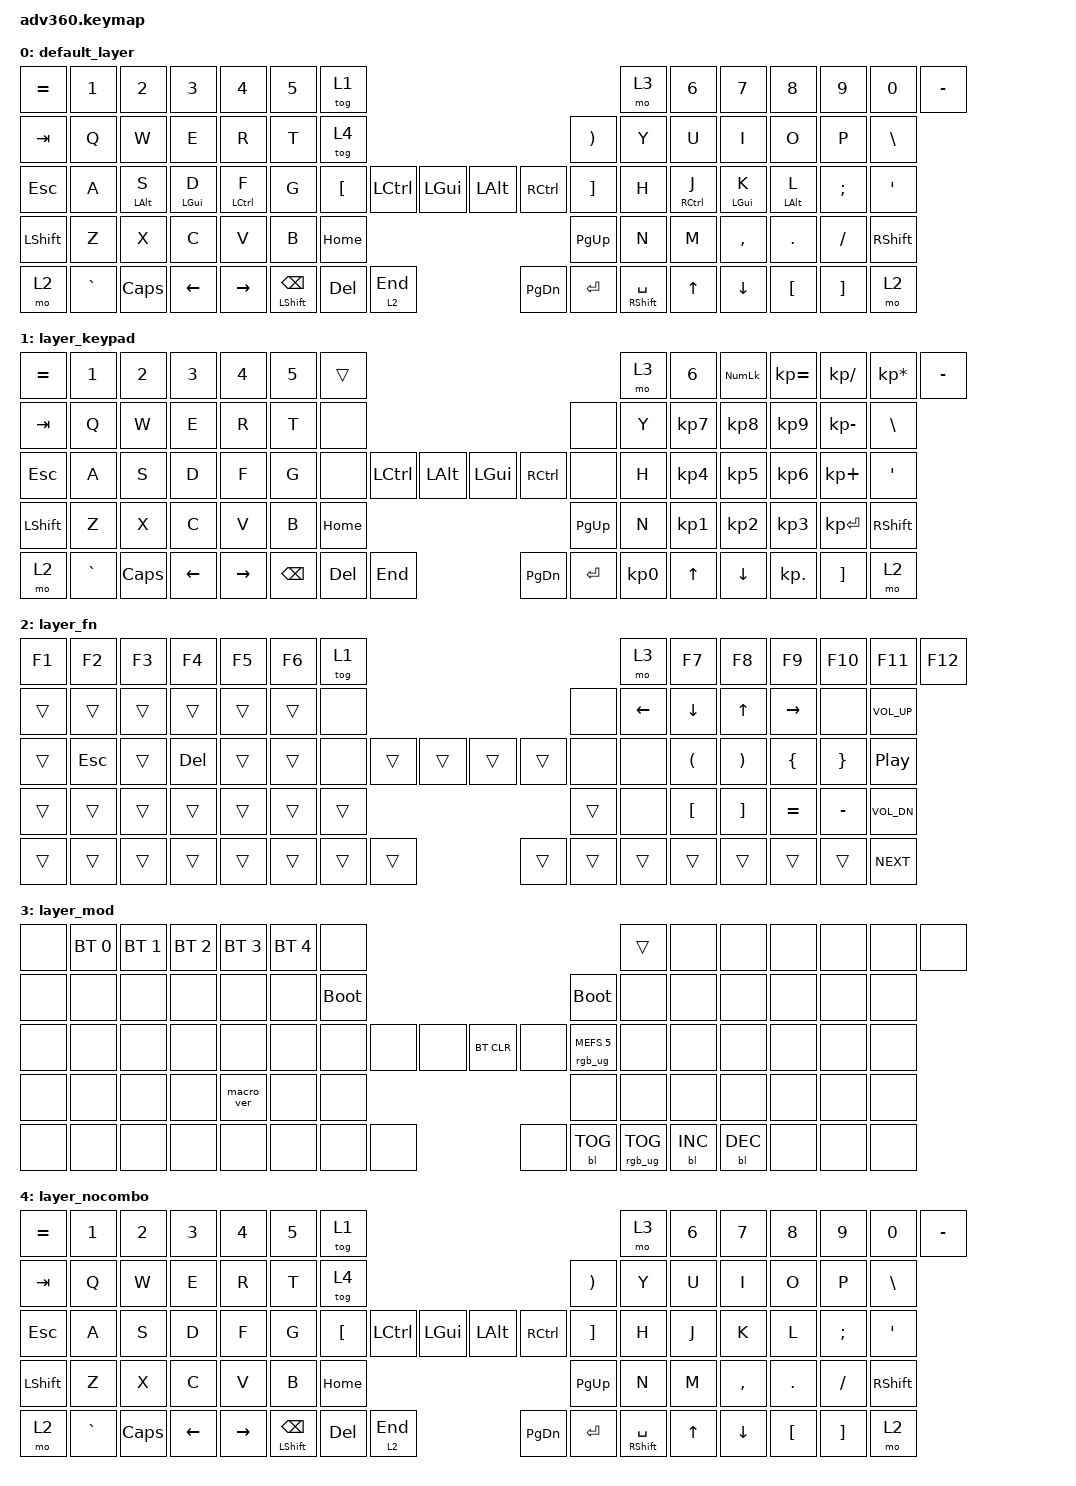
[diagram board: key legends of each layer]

/*
 * Copyright (c) 2020 The ZMK Contributors
 *
 * SPDX-License-Identifier: MIT
 */


/* THIS FILE WAS GENERATED!
 *
 * This file was generated automatically. You may or may not want to
 * edit it directly.
 */

#include <behaviors.dtsi>
#include <dt-bindings/zmk/keys.h>
#include <dt-bindings/zmk/bt.h>
#include <dt-bindings/zmk/rgb.h>
#include <dt-bindings/zmk/backlight.h>

#define COMBO(NAME, BINDINGS, KEYPOS) \
  combo_##NAME { \
    timeout-ms = <50>; \
    bindings = <BINDINGS>; \
    key-positions = <KEYPOS>; \
    layers = <0>; \
  };

/ {
  behaviors {
    #include "macros.dtsi"
    #include "version.dtsi"

    hm: homerow_mods {
        compatible = "zmk,behavior-hold-tap";
        label = "HOMEROW_MODS";
        #binding-cells = <2>;
        tapping-term-ms = <170>;
        quick_tap_ms = <300>;
        flavor = "tap-preferred";
        bindings = <&kp>, <&kp>;
        require-prior-idle-ms = <100>;
        hold-trigger-on-release;
    };
  };

combos {
compatible = "zmk,combos";


/* Horizontal combos - left hand */
COMBO(esc,   &kp ESC,       16 17)
COMBO(ret,   &kp RETURN,    17 18)
/*COMBO(mouse, &smart_mouse,  LT3 LT1)*/

COMBO(tab,   &kp TAB,       30 31)
// COMBO(repeat, &kp C_AC_REDO,    31 32)
COMBO(colin, &kp COLON,    31 32)

/*COMBO(cut,   &kp LC(X),     LB3 LB1)*/
COMBO(copy,  &kp LC(INS),   48 49)
COMBO(paste, &kp LS(INS),   49 50)

/* Horizontal combos - right hand */
COMBO(lbrc,  &kp LBRC,      23 24)
COMBO(rbrc,  &kp RBRC,      24 25)

COMBO(lpar,  &kp LPAR,      41 42)
COMBO(rpar,  &kp RPAR,      42 43)
// COMBO(lt,    &kp LT,        41 42)
// COMBO(gt,    &kp GT,        42 43)

COMBO(lbkt,  &kp LBKT,      55 56)
COMBO(rbkt,  &kp RBKT,      56 57)
// COMBO(lbrc,  &kp LBRC,      55 56)
// COMBO(rbrc,  &kp RBRC,      56 57)

// COMBO(grk,   &sl UC,        RT1 RT3)
// COMBO(cpgrk, &sls 0,        RT1 RT2 RT3)

/* Vertical combos - left hand */
COMBO(at,    &kp AT,        16 30)
COMBO(hash,  &kp HASH,      17 31)
COMBO(dllr,  &kp DLLR,      18 32)
COMBO(prcnt, &kp PRCNT,     19 33)

COMBO(grave, &kp GRAVE,     30 48)
COMBO(bslh,  &kp BSLH,      31 49)
COMBO(equal, &kp EQUAL,     32 50)
COMBO(tilde, &kp TILDE,     33 51)

/* Vertical combos - right hand */
COMBO(caret, &kp CARET,     22 40)
COMBO(plus,  &kp PLUS,      23 41)
COMBO(star,  &kp STAR,      24 42)
COMBO(amps,  &kp AMPS,      25 43)

COMBO(under, &kp UNDER,     40 54)
COMBO(minus, &kp MINUS,     41 55)
COMBO(fslh,  &kp FSLH,      42 56)
COMBO(pipe,  &kp PIPE,      43 57)



// COMBO(esc,   &kp ESC,       16 17)
// COMBO(ret,   &kp RETURN,    17 18)
// COMBO(lbkt,  &kp LBKT,      55 56)
// COMBO(rbkt,  &kp RBKT,      56 57)
//COMBO(lbrc,  &kp LBRC,      55 56)
//COMBO(rbrc,  &kp RBRC,      56 57)
/*
*COMBO(LEFT_SHIFT, &kp LEFT_SHIFT, 31 32)
*COMBO(RIGHT_SHIFT, &kp RIGHT_SHIFT, 41 42)
*/
};

    keymap {
        compatible = "zmk,keymap";


        default_layer {
            bindings = <
      &kp EQUAL     &kp N1    &kp N2    &kp N3     &kp N4  &kp N5                    &tog 1                                                                                      &mo 3  &kp N6  &kp N7     &kp N8    &kp N9    &kp N0  &kp MINUS
        &kp TAB      &kp Q     &kp W     &kp E      &kp R   &kp T                     &tog 4                                                                                      &kp RIGHT_PARENTHESIS   &kp Y   &kp U      &kp I     &kp O     &kp P   &kp BSLH
        &kp ESC      &kp A     &hm LEFT_ALT S     &hm LGUI D      &hm LCTRL F   &kp G            &kp LBKT  &kp LCTRL  &kp LGUI                  &kp LEFT_ALT             &kp RCTRL  &kp RBKT   &kp H   &hm RCTRL J      &hm LGUI K     &hm LEFT_ALT L  &kp SEMI    &kp SQT
 &kp LEFT_SHIFT      &kp Z     &kp X     &kp C      &kp V   &kp B                                       &kp HOME                     &kp PG_UP                                           &kp N   &kp M  &kp COMMA   &kp DOT  &kp FSLH  &kp RSHFT
          &mo 2  &kp GRAVE  &kp CAPS  &kp LEFT  &kp RIGHT                        &hm LEFT_SHIFT BSPC      &kp DEL   &lt 2 END                     &kp PG_DN  &kp ENTER        &hm RIGHT_SHIFT SPACE          &kp UP   &kp DOWN  &kp LBKT  &kp RBKT      &mo 2
            >;
        };

        layer_keypad {
            bindings = <
 &kp EQUAL     &kp N1    &kp N2    &kp N3     &kp N4  &kp N5              &trans                                                                 &mo 3  &kp N6  &kp KP_NUM  &kp KP_EQUAL  &kp KP_DIVIDE  &kp KP_MULTIPLY  &kp MINUS
   &kp TAB      &kp Q     &kp W     &kp E      &kp R   &kp T               &none                                                                 &none   &kp Y   &kp KP_N7     &kp KP_N8      &kp KP_N9     &kp KP_MINUS   &kp BSLH
   &kp ESC      &kp A     &kp S     &kp D      &kp F   &kp G               &none  &kp LCTRL  &kp LALT                   &kp LGUI  &kp RCTRL      &none   &kp H   &kp KP_N4     &kp KP_N5      &kp KP_N6      &kp KP_PLUS    &kp SQT
 &kp LSHFT      &kp Z     &kp X     &kp C      &kp V   &kp B                                 &kp HOME                  &kp PG_UP                         &kp N   &kp KP_N1     &kp KP_N2      &kp KP_N3     &kp KP_ENTER  &kp RSHFT
     &mo 2  &kp GRAVE  &kp CAPS  &kp LEFT  &kp RIGHT                    &kp BSPC    &kp DEL   &kp END                  &kp PG_DN  &kp ENTER  &kp KP_N0              &kp UP      &kp DOWN     &kp KP_DOT         &kp RBKT      &mo 2
            >;
        };

        layer_fn {
            bindings = <
 &kp F1   &kp F2  &kp F3   &kp F4  &kp F5  &kp F6            &tog 1                                                   &mo 3          &kp F7                &kp F8                 &kp F9          &kp F10          &kp F11           &kp F12
 &trans   &trans  &trans   &trans  &trans  &trans             &none                                                   &none  &kp LEFT_ARROW        &kp DOWN_ARROW           &kp UP_ARROW  &kp RIGHT_ARROW            &none      &kp C_VOL_UP
 &trans  &kp ESC  &trans  &kp DEL  &trans  &trans             &none  &trans  &trans                  &trans  &trans   &none           &none  &kp LEFT_PARENTHESIS  &kp RIGHT_PARENTHESIS   &kp LEFT_BRACE  &kp RIGHT_BRACE  &kp C_PLAY_PAUSE
 &trans   &trans  &trans   &trans  &trans  &trans                            &trans                  &trans                           &none      &kp LEFT_BRACKET      &kp RIGHT_BRACKET        &kp EQUAL        &kp MINUS      &kp C_VOL_DN
 &trans   &trans  &trans   &trans  &trans                    &trans  &trans  &trans                  &trans  &trans  &trans                                &trans                 &trans           &trans           &trans        &kp C_NEXT
            >;
        };

        layer_mod {
            bindings = <
  &none  &bt BT_SEL 0  &bt BT_SEL 1  &bt BT_SEL 2  &bt BT_SEL 3  &bt BT_SEL 4                  &none                                                                          &trans   &none       &none       &none   &none   &none   &none
  &none         &none         &none         &none         &none         &none            &bootloader                                                                     &bootloader   &none       &none       &none   &none   &none   &none
  &none         &none         &none         &none         &none         &none                  &none   &none   &none                  &bt BT_CLR       &none  &rgb_ug RGB_MEFS_CMD 5   &none       &none       &none   &none   &none   &none
  &none         &none         &none         &none    &macro_ver         &none                                  &none                       &none                                       &none       &none       &none   &none   &none   &none
  &none         &none         &none         &none         &none                                &none   &none   &none                       &none  &bl BL_TOG         &rgb_ug RGB_TOG          &bl BL_INC  &bl BL_DEC   &none   &none   &none
            >;
        };

      layer_nocombo {
            bindings = <
      &kp EQUAL     &kp N1    &kp N2    &kp N3     &kp N4  &kp N5                    &tog 1                                                                                      &mo 3  &kp N6  &kp N7     &kp N8    &kp N9    &kp N0  &kp MINUS
        &kp TAB      &kp Q     &kp W     &kp E      &kp R   &kp T                     &tog 4                                                                                      &kp RIGHT_PARENTHESIS   &kp Y   &kp U      &kp I     &kp O     &kp P   &kp BSLH
        &kp ESC      &kp A     &kp S     &kp D      &kp F   &kp G            &kp LBKT  &kp LCTRL  &kp LGUI                  &kp LEFT_ALT              &kp RCTRL  &kp RBKT   &kp H   &kp J      &kp K     &kp L  &kp SEMI    &kp SQT
 &kp LEFT_SHIFT      &kp Z     &kp X     &kp C      &kp V   &kp B                                       &kp HOME                     &kp PG_UP                                           &kp N   &kp M  &kp COMMA   &kp DOT  &kp FSLH  &kp RSHFT
          &mo 2  &kp GRAVE  &kp CAPS  &kp LEFT  &kp RIGHT                        &hm LEFT_SHIFT BSPC      &kp DEL   &lt 2 END                     &kp PG_DN  &kp ENTER        &hm RIGHT_SHIFT SPACE          &kp UP   &kp DOWN  &kp LBKT  &kp RBKT      &mo 2
            >;
        };

    };
};
